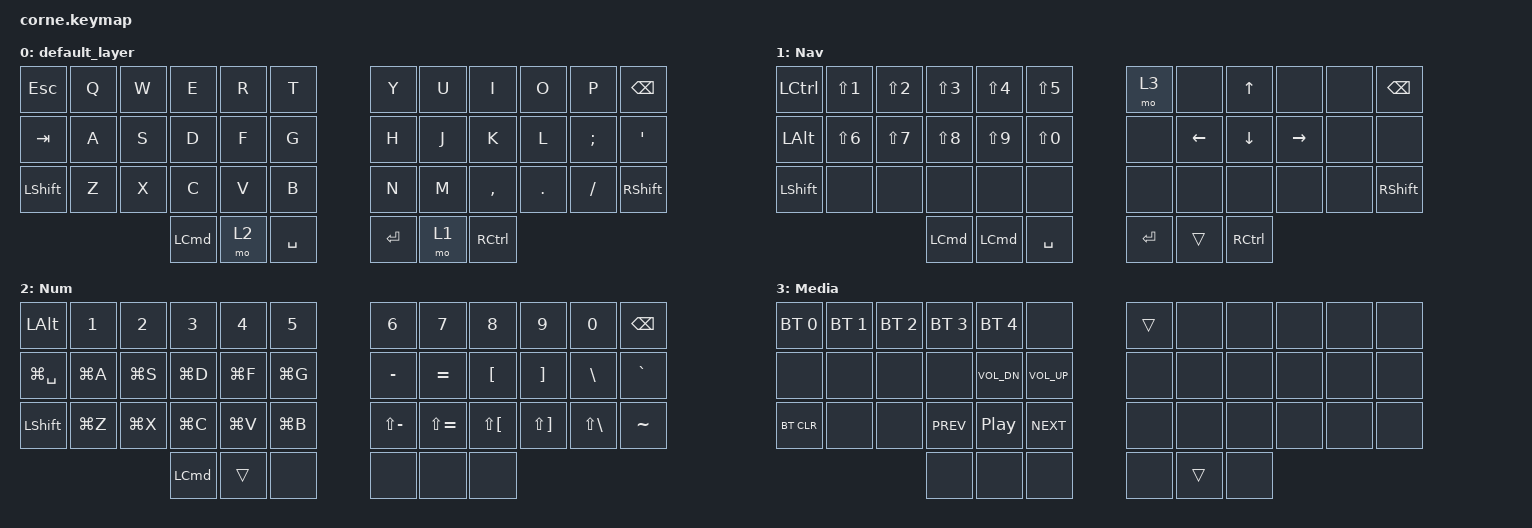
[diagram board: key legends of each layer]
/*
 * Copyright (c) 2020 The ZMK Contributors
 *
 * SPDX-License-Identifier: MIT
 */

#include <behaviors.dtsi>
#include <dt-bindings/zmk/bt.h>
#include <dt-bindings/zmk/keys.h>

/ {
    combos {
        compatible = "zmk,combos";

        combo_esc {
            timeout-ms = <50>;
            key-positions = <0 1>;
            bindings = <&kp ESC>;
        };
    };

    behaviors {
        ss_hs_modmorph: ss_hs_modmorph {
            compatible = "zmk,behavior-mod-morph";
            label = "SS_HS_MODMORPH";
            bindings = <&kp M>, <&kp RIGHT_BRACKET>;

            #binding-cells = <0>;
            mods = <(MOD_LSFT|MOD_RSFT)>;
        };

        kh_hs_tapdance: kh_hs_tapdance {
            compatible = "zmk,behavior-tap-dance";
            label = "KH_HS_TAPDANCE";
            #binding-cells = <0>;
            tapping-term-ms = <200>;
            bindings = <&kp LEFT_BRACKET>, <&kp RIGHT_BRACKET>;
        };

        hrm: hrm {
            compatible = "zmk,behavior-hold-tap";
            #binding-cells = <2>;
            flavor = "tap-preferred";
            tapping-term-ms = <200>;
            quick-tap-ms = <200>;
            require-prior-idle-ms = <125>;
            bindings = <&kp>, <&kp>;
        };
    };

    keymap {
        compatible = "zmk,keymap";

        default_layer {


            bindings = <
                &kp ESC      &kp Q   &kp W   &kp E   &kp R      &kp T                           &kp Y   &kp U       &kp I       &kp O     &kp P       &kp BSPC
                &kp TAB      &kp A   &kp S   &kp D   &kp F      &kp G                           &kp H   &kp J       &kp K       &kp L     &kp SEMI    &kp QUOT
                &kp LSHIFT   &kp Z   &kp X   &kp C   &kp V      &kp B                           &kp N   &kp M       &kp COMMA   &kp DOT   &kp SLASH   &kp RSHFT
                                                                &kp LCMD   &mo 2   &kp SPACE   &kp ENTER   &mo 1   &kp RCTRL
            >;
        };

        Nav {
            

            bindings = <
                &kp LCTRL        &kp LS(N1)   &kp LS(N2)   &kp LS(N3)   &kp LS(N4)   &kp LS(N5)                            &mo 3    &none      &kp UP     &none       &none   &kp BSPC
                &kp LALT         &kp LS(N6)   &kp LS(N7)   &kp LS(N8)   &kp LS(N9)   &kp LS(N0)                            &none    &kp LEFT   &kp DOWN   &kp RIGHT   &none   &none
                &kp LSHIFT       &none        &none        &none        &none        &none                                 &none    &none      &none      &none       &none   &kp RSHFT
                                                                &kp LCMD     &kp LCMD     &kp SPACE   &kp ENTER    &trans   &kp RCTRL
            >;
        };

        Num {


            bindings = <
                &kp LALT        &kp N1      &kp N2      &kp N3      &kp N4      &kp N5                      &kp N6          &kp N7          &kp N8        &kp N9         &kp N0         &kp BSPC
                &kp LG(SPACE)   &kp LG(A)   &kp LG(S)   &kp LG(D)   &kp LG(F)   &kp LG(G)                   &kp MINUS       &kp EQUAL       &kp LBKT      &kp RBKT       &kp BSLH       &kp GRAVE 
                &kp LSHIFT      &kp LG(Z)   &kp LG(X)   &kp LG(C)   &kp LG(V)   &kp LG(B)                   &kp LS(MINUS)   &kp LS(EQUAL)   &kp LS(LBKT)  &kp LS(RBKT)   &kp LS(BSLH)   &kp TILDE
                                                                 &kp LCMD    &trans      &none   &none   &none           &none
            >;
        };

        Media {
            bindings = <
                &bt BT_SEL 0   &bt BT_SEL 1   &bt BT_SEL 2   &bt BT_SEL 3   &bt BT_SEL 4       &none                          &trans   &none   &none   &none   &none   &none
                &none          &none          &none          &none          &kp C_VOL_DN       &kp C_VOL_UP                   &none    &none   &none   &none   &none   &none
                &bt BT_CLR     &none          &none          &kp C_PREV     &kp C_PLAY_PAUSE   &kp C_NEXT                     &none    &none   &none   &none   &none   &none
                                                                            &none              &none          &none   &none   &trans   &none
            >;
        };
    };
};
